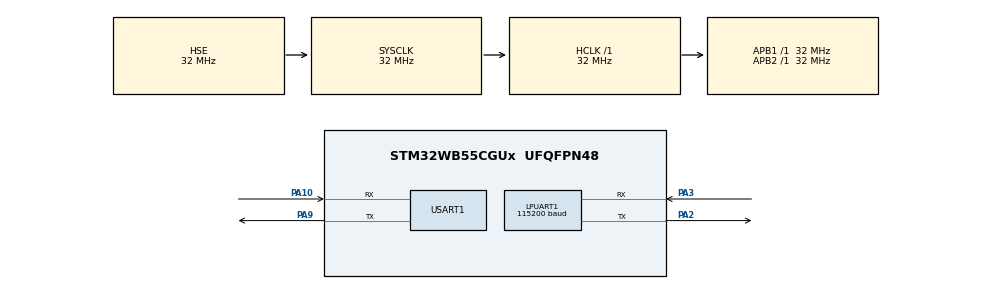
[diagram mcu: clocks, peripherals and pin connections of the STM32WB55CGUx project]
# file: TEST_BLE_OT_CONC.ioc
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Dma.LPUART1_TX.0.Direction=DMA_MEMORY_TO_PERIPH
Dma.LPUART1_TX.0.EventEnable=DISABLE
Dma.LPUART1_TX.0.Instance=DMA1_Channel4
Dma.LPUART1_TX.0.MemDataAlignment=DMA_MDATAALIGN_BYTE
Dma.LPUART1_TX.0.MemInc=DMA_MINC_ENABLE
Dma.LPUART1_TX.0.Mode=DMA_NORMAL
Dma.LPUART1_TX.0.PeriphDataAlignment=DMA_PDATAALIGN_BYTE
Dma.LPUART1_TX.0.PeriphInc=DMA_PINC_DISABLE
Dma.LPUART1_TX.0.Polarity=HAL_DMAMUX_REQ_GEN_RISING
Dma.LPUART1_TX.0.Priority=DMA_PRIORITY_LOW
Dma.LPUART1_TX.0.RequestNumber=1
Dma.LPUART1_TX.0.SignalID=NONE
Dma.LPUART1_TX.0.SyncEnable=DISABLE
Dma.LPUART1_TX.0.SyncPolarity=HAL_DMAMUX_SYNC_NO_EVENT
Dma.LPUART1_TX.0.SyncRequestNumber=1
Dma.LPUART1_TX.0.SyncSignalID=NONE
Dma.Request0=LPUART1_TX
Dma.Request1=USART1_TX
Dma.USART1_TX.1.Direction=DMA_MEMORY_TO_PERIPH
Dma.USART1_TX.1.EventEnable=DISABLE
Dma.USART1_TX.1.Instance=DMA2_Channel4
Dma.USART1_TX.1.MemDataAlignment=DMA_MDATAALIGN_BYTE
Dma.USART1_TX.1.MemInc=DMA_MINC_ENABLE
Dma.USART1_TX.1.Mode=DMA_NORMAL
Dma.USART1_TX.1.PeriphDataAlignment=DMA_PDATAALIGN_BYTE
Dma.USART1_TX.1.PeriphInc=DMA_PINC_DISABLE
Dma.USART1_TX.1.Polarity=HAL_DMAMUX_REQ_GEN_RISING
Dma.USART1_TX.1.Priority=DMA_PRIORITY_LOW
Dma.USART1_TX.1.RequestNumber=1
Dma.USART1_TX.1.SignalID=NONE
Dma.USART1_TX.1.SyncEnable=DISABLE
Dma.USART1_TX.1.SyncPolarity=HAL_DMAMUX_SYNC_NO_EVENT
Dma.USART1_TX.1.SyncRequestNumber=1
Dma.USART1_TX.1.SyncSignalID=NONE
FREERTOS.Tasks01=defaultTask,24,512,StartDefaultTask,Default,NULL,Dynamic,NULL,NULL
FREERTOS.configMINIMAL_STACK_SIZE=512
FREERTOS.configTOTAL_HEAP_SIZE=10000
FREERTOS.configUSE_TICKLESS_IDLE=2
LPUART1.BaudRate=115200
Mcu.Family=STM32WB
Mcu.Name=STM32WB55CGUx
Mcu.Package=UFQFPN48
NVIC.DMA1_Channel4_IRQn=true\:5\:0\:false\:false\:true\:true\:false\:true
NVIC.DMA2_Channel4_IRQn=true\:5\:0\:false\:false\:true\:true\:false\:true
NVIC.HSEM_IRQn=true\:5\:0\:false\:false\:true\:true\:false\:true
NVIC.LPUART1_IRQn=true\:5\:0\:false\:false\:true\:true\:true\:true
NVIC.PriorityGroup=NVIC_PRIORITYGROUP_4
NVIC.TIM1_TRG_COM_TIM17_IRQn=true\:0\:0\:false\:false\:true\:false\:false\:true
NVIC.TimeBase=TIM1_TRG_COM_TIM17_IRQn
NVIC.TimeBaseIP=TIM17
NVIC.USART1_IRQn=true\:5\:0\:false\:false\:true\:true\:true\:true
OSC_IN.Mode=HSE-External-Oscillator
OSC_IN.Signal=RCC_OSC_IN
OSC_OUT.Mode=HSE-External-Oscillator
OSC_OUT.Signal=RCC_OSC_OUT
PA10.Mode=Asynchronous
PA10.Signal=USART1_RX
PA2.Mode=Asynchronous
PA2.Signal=LPUART1_TX
PA3.Mode=Asynchronous
PA3.Signal=LPUART1_RX
PA9.Mode=Asynchronous
PA9.Signal=USART1_TX
PC14-OSC32_IN.Mode=LSE-External-Oscillator
PC14-OSC32_IN.Signal=RCC_OSC32_IN
PC15-OSC32_OUT.Mode=LSE-External-Oscillator
PC15-OSC32_OUT.Signal=RCC_OSC32_OUT
ProjectManager.HeapSize=0x200
ProjectManager.StackSize=0x400
ProjectManager.TargetToolchain=STM32CubeIDE
RCC.ADCFreq_Value=64000000
RCC.AHBFreq_Value=32000000
RCC.APB1Freq_Value=32000000
RCC.APB1TimFreq_Value=32000000
RCC.APB2Freq_Value=32000000
RCC.APB2TimFreq_Value=32000000
RCC.APB3Freq_Value=16000000
RCC.CortexFreq_Value=32000000
RCC.HCLKFreq_Value=32000000
RCC.HSE_VALUE=32000000
RCC.HSI48_VALUE=48000000
RCC.HSI_VALUE=16000000
RCC.MSIClockRange=RCC_MSIRANGE_10
RCC.PLLM=RCC_PLLM_DIV2
RCC.PLLSourceVirtual=RCC_PLLSOURCE_HSE
RCC.RTCClockSelection=RCC_RTCCLKSOURCE_LSE
RCC.SYSCLKFreq_VALUE=32000000
RCC.SYSCLKSource=RCC_SYSCLKSOURCE_HSE
RCC.USBFreq_Value=64000000
RCC.VCOOutputFreq_Value=128000000
RF1.Mode=RF1_Activate
RF1.Signal=RF_RF1
STM32_WPAN.CFG_CLI_UART=hw_uart1
STM32_WPAN.CFG_DEBUG_TRACE_UART=hw_lpuart1
STM32_WPAN.CFG_HW_LPUART1_ENABLED=1
STM32_WPAN.CFG_HW_USART1_ENABLED=1
STM32_WPAN.CHANNEL=23
STM32_WPAN.PANID=1234
STM32_WPAN.THREAD_APPLICATION=FTD
USART1.VirtualMode-Asynchronous=VM_ASYNC
VP_FREERTOS_VS_CMSIS_V2.Mode=CMSIS_V2
VP_HSEM_VS_HSEM.Mode=HSEM_Activate
VP_RTC_VS_RTC_Activate.Mode=RTC_Enabled
VP_STM32_WPAN_VS_THREAD.Mode=STM32_WPAN_Enabled
VP_SYS_VS_tim17.Mode=TIM17
VP_TINY_LPM_VS_TINY_LPM.Mode=TINY_LPM_Enabled
board=custom

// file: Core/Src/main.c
/* USER CODE BEGIN Header */
/**
  ******************************************************************************
  * @file           : main.c
  * @brief          : Main program body
  ******************************************************************************
  * @attention
  *
  * <h2><center>&copy; Copyright (c) 2021 STMicroelectronics.
  * All rights reserved.</center></h2>
  *
  * This software component is licensed by ST under BSD 3-Clause license,
  * the "License"; You may not use this file except in compliance with the
  * License. You may obtain a copy of the License at:
  *                        opensource.org/licenses/BSD-3-Clause
  *
  ******************************************************************************
  */
/* USER CODE END Header */
#include "main.h"
#include "cmsis_os.h"
#include "dma.h"
#include "usart.h"
#include "rf.h"
#include "rtc.h"
#include "app_entry.h"
#include "app_common.h"
#include "gpio.h"

/* USER CODE BEGIN Includes */
 #include "stm32_seq.h"
#include "otp.h"
#include "stm32_lpm.h"
#include "stm32_seq.h"
#include "dbg_trace.h"
#include "hw_conf.h"
/* USER CODE END Includes */

/* USER CODE BEGIN PV */
GPIO_TypeDef* GPIO_PORT[LEDn] = {LED1_GPIO_PORT, LED2_GPIO_PORT, LED3_GPIO_PORT};
const uint16_t GPIO_PIN[LEDn] = {LED1_PIN, LED2_PIN, LED3_PIN};
/* USER CODE END PV */

void SystemClock_Config(void);
void MX_FREERTOS_Init(void);
/* USER CODE BEGIN PFP */
void PeriphClock_Config(void);
static void Reset_Device( void );
static void Reset_IPCC( void );
static void Reset_BackupDomain( void );
static void Init_Exti( void );
static void Config_HSE(void);
/* USER CODE END PFP */

int main(void)
{
  /* USER CODE BEGIN 1 */
	  /**
	   * The OPTVERR flag is wrongly set at power on
	   * It shall be cleared before using any HAL_FLASH_xxx() api
	   */
	   __HAL_FLASH_CLEAR_FLAG(FLASH_FLAG_OPTVERR);
  /* USER CODE END 1 */

  /* MCU Configuration--------------------------------------------------------*/

  /* Reset of all peripherals, Initializes the Flash interface and the Systick. */
   HAL_Init();

  /* USER CODE BEGIN Init */
   Reset_Device();
   Config_HSE();
  /* USER CODE END Init */

  /* Configure the system clock */
  SystemClock_Config();

  /* USER CODE BEGIN SysInit */
  PeriphClock_Config();
  Init_Exti(); /**< Configure the system Power Mode */
  /* USER CODE END SysInit */

  /* Initialize all configured peripherals */
  MX_GPIO_Init();
  MX_DMA_Init();
  MX_LPUART1_UART_Init();
  MX_RTC_Init();
  MX_USART1_UART_Init();
  MX_RF_Init();

  /* Init scheduler */
  osKernelInitialize();  /* Call init function for freertos objects (in freertos.c) */
  MX_FREERTOS_Init();
  /* Start scheduler */
  osKernelStart();

  /* We should never get here as control is now taken by the scheduler */
  /* Infinite loop */
  /* USER CODE BEGIN WHILE */
  while (1)
  {
	  UTIL_SEQ_Run( UTIL_SEQ_DEFAULT );
    /* USER CODE END WHILE */

  }
}

void SystemClock_Config(void)
{
  RCC_OscInitTypeDef RCC_OscInitStruct = {0};
  RCC_ClkInitTypeDef RCC_ClkInitStruct = {0};
  RCC_PeriphCLKInitTypeDef PeriphClkInitStruct = {0};

  /** Configure LSE Drive Capability
  */
  HAL_PWR_EnableBkUpAccess(); //todo: not there
  __HAL_RCC_LSEDRIVE_CONFIG(RCC_LSEDRIVE_LOW);
  /** Configure the main internal regulator output voltage
  */
  __HAL_PWR_VOLTAGESCALING_CONFIG(PWR_REGULATOR_VOLTAGE_SCALE1);
  /** Initializes the RCC Oscillators according to the specified parameters
  * in the RCC_OscInitTypeDef structure.
  */
  RCC_OscInitStruct.OscillatorType = RCC_OSCILLATORTYPE_HSI|RCC_OSCILLATORTYPE_HSE
                              |RCC_OSCILLATORTYPE_LSE;
  RCC_OscInitStruct.HSEState = RCC_HSE_ON;
  RCC_OscInitStruct.LSEState = RCC_LSE_ON;
  RCC_OscInitStruct.HSIState = RCC_HSI_ON;
  RCC_OscInitStruct.HSICalibrationValue = RCC_HSICALIBRATION_DEFAULT;
  RCC_OscInitStruct.PLL.PLLState = RCC_PLL_NONE;
  if (HAL_RCC_OscConfig(&RCC_OscInitStruct) != HAL_OK)
  {
    Error_Handler();
  }
  /** Configure the SYSCLKSource, HCLK, PCLK1 and PCLK2 clocks dividers
  */
  RCC_ClkInitStruct.ClockType = RCC_CLOCKTYPE_HCLK4|RCC_CLOCKTYPE_HCLK2
                              |RCC_CLOCKTYPE_HCLK|RCC_CLOCKTYPE_SYSCLK
                              |RCC_CLOCKTYPE_PCLK1|RCC_CLOCKTYPE_PCLK2;
  RCC_ClkInitStruct.SYSCLKSource = RCC_SYSCLKSOURCE_HSE;
  RCC_ClkInitStruct.AHBCLKDivider = RCC_SYSCLK_DIV1;
  RCC_ClkInitStruct.APB1CLKDivider = RCC_HCLK_DIV1;
  RCC_ClkInitStruct.APB2CLKDivider = RCC_HCLK_DIV1;
  RCC_ClkInitStruct.AHBCLK2Divider = RCC_SYSCLK_DIV1;
  RCC_ClkInitStruct.AHBCLK4Divider = RCC_SYSCLK_DIV1;

  if (HAL_RCC_ClockConfig(&RCC_ClkInitStruct, FLASH_LATENCY_1) != HAL_OK)
  {
    Error_Handler();
  }
  /** Initializes the peripherals clocks
  */
  PeriphClkInitStruct.PeriphClockSelection = RCC_PERIPHCLK_SMPS|RCC_PERIPHCLK_RFWAKEUP
                              |RCC_PERIPHCLK_RTC|RCC_PERIPHCLK_USART1
                              |RCC_PERIPHCLK_LPUART1;
  PeriphClkInitStruct.Usart1ClockSelection = RCC_USART1CLKSOURCE_PCLK2;
  PeriphClkInitStruct.Lpuart1ClockSelection = RCC_LPUART1CLKSOURCE_PCLK1;

  /**
   * TODO
   * This is what CubeMX generated
   * (you can correct this in CubeMX but I am fearful of a regeneration)
   */
//  PeriphClkInitStruct.RTCClockSelection = RCC_RTCCLKSOURCE_LSE;
//  PeriphClkInitStruct.RFWakeUpClockSelection = RCC_RFWKPCLKSOURCE_HSE_DIV1024;
//  PeriphClkInitStruct.SmpsClockSelection = RCC_SMPSCLKSOURCE_HSI;
//  PeriphClkInitStruct.SmpsDivSelection = RCC_SMPSCLKDIV_RANGE1;
//  if (HAL_RCCEx_PeriphCLKConfig(&PeriphClkInitStruct) != HAL_OK)
//  {
//    Error_Handler();
//  }
  /* USER CODE BEGIN Smps */

  /**
   * This is what the example API prefers or funny things happen
   */
  //PeriphClkInitStruct.RTCClockSelection = RCC_RTCCLKSOURCE_LSE;
    PeriphClkInitStruct.RTCClockSelection = RCC_RTCCLKSOURCE_HSE_DIV32;
    PeriphClkInitStruct.RFWakeUpClockSelection = RCC_RFWKPCLKSOURCE_LSE;
    PeriphClkInitStruct.SmpsClockSelection = RCC_SMPSCLKSOURCE_HSE;
    PeriphClkInitStruct.SmpsDivSelection = RCC_SMPSCLKDIV_RANGE1;
    if (HAL_RCCEx_PeriphCLKConfig(&PeriphClkInitStruct) != HAL_OK)
      {
        Error_Handler();
      }
  /* USER CODE END Smps */
}

/* USER CODE BEGIN 4 */
void PeriphClock_Config(void)
{
  #if (CFG_USB_INTERFACE_ENABLE != 0)
	RCC_PeriphCLKInitTypeDef PeriphClkInitStruct = { 0 };
	RCC_CRSInitTypeDef RCC_CRSInitStruct = { 0 };

	/**
   * This prevents the CPU2 to disable the HSI48 oscillator when
   * it does not use anymore the RNG IP
   */
  LL_HSEM_1StepLock( HSEM, 5 );

  LL_RCC_HSI48_Enable();

	while(!LL_RCC_HSI48_IsReady());

	/* Select HSI48 as USB clock source */
	PeriphClkInitStruct.PeriphClockSelection = RCC_PERIPHCLK_USB;
	PeriphClkInitStruct.UsbClockSelection = RCC_USBCLKSOURCE_HSI48;
	HAL_RCCEx_PeriphCLKConfig(&PeriphClkInitStruct);

	/*Configure the clock recovery system (CRS)**********************************/

	/* Enable CRS Clock */
	__HAL_RCC_CRS_CLK_ENABLE();

	/* Default Synchro Signal division factor (not divided) */
	RCC_CRSInitStruct.Prescaler = RCC_CRS_SYNC_DIV1;

	/* Set the SYNCSRC[1:0] bits according to CRS_Source value */
	RCC_CRSInitStruct.Source = RCC_CRS_SYNC_SOURCE_USB;

	/* HSI48 is synchronized with USB SOF at 1KHz rate */
	RCC_CRSInitStruct.ReloadValue = RCC_CRS_RELOADVALUE_DEFAULT;
	RCC_CRSInitStruct.ErrorLimitValue = RCC_CRS_ERRORLIMIT_DEFAULT;

	RCC_CRSInitStruct.Polarity = RCC_CRS_SYNC_POLARITY_RISING;

	/* Set the TRIM[5:0] to the default value*/
	RCC_CRSInitStruct.HSI48CalibrationValue = RCC_CRS_HSI48CALIBRATION_DEFAULT;

	/* Start automatic synchronization */
	HAL_RCCEx_CRSConfig(&RCC_CRSInitStruct);
#endif

	return;
}

//void SystemClock_Config(void)
//{
//  RCC_OscInitTypeDef RCC_OscInitStruct = {0};
//  RCC_ClkInitTypeDef RCC_ClkInitStruct = {0};
//  RCC_PeriphCLKInitTypeDef PeriphClkInitStruct = {0};
//
//  /** Configure LSE Drive Capability
//  */
//  __HAL_RCC_LSEDRIVE_CONFIG(RCC_LSEDRIVE_LOW);
//  /** Configure the main internal regulator output voltage
//  */
//  __HAL_PWR_VOLTAGESCALING_CONFIG(PWR_REGULATOR_VOLTAGE_SCALE1);
//  /** Initializes the CPU, AHB and APB busses clocks
//  */
//  RCC_OscInitStruct.OscillatorType = RCC_OSCILLATORTYPE_HSI|RCC_OSCILLATORTYPE_HSE
//                              |RCC_OSCILLATORTYPE_LSE;
//  RCC_OscInitStruct.HSEState = RCC_HSE_ON;
//  RCC_OscInitStruct.LSEState = RCC_LSE_ON;
//  RCC_OscInitStruct.HSIState = RCC_HSI_ON;
//  RCC_OscInitStruct.HSICalibrationValue = RCC_HSICALIBRATION_DEFAULT;
//  RCC_OscInitStruct.PLL.PLLState = RCC_PLL_NONE;
//  if (HAL_RCC_OscConfig(&RCC_OscInitStruct) != HAL_OK)
//  {
//    Error_Handler();
//  }
//  /** Configure the SYSCLKSource, HCLK, PCLK1 and PCLK2 clocks dividers
//  */
//  RCC_ClkInitStruct.ClockType = RCC_CLOCKTYPE_HCLK4|RCC_CLOCKTYPE_HCLK2
//                              |RCC_CLOCKTYPE_HCLK|RCC_CLOCKTYPE_SYSCLK
//                              |RCC_CLOCKTYPE_PCLK1|RCC_CLOCKTYPE_PCLK2;
//  RCC_ClkInitStruct.SYSCLKSource = RCC_SYSCLKSOURCE_HSE;
//  RCC_ClkInitStruct.AHBCLKDivider = RCC_SYSCLK_DIV1;
//  RCC_ClkInitStruct.APB1CLKDivider = RCC_HCLK_DIV1;
//  RCC_ClkInitStruct.APB2CLKDivider = RCC_HCLK_DIV1;
//  RCC_ClkInitStruct.AHBCLK2Divider = RCC_SYSCLK_DIV1;
//  RCC_ClkInitStruct.AHBCLK4Divider = RCC_SYSCLK_DIV1;
//
//  if (HAL_RCC_ClockConfig(&RCC_ClkInitStruct, FLASH_LATENCY_1) != HAL_OK)
//  {
//    Error_Handler();
//  }
//  /** Initializes the peripherals clocks
//  */
//  PeriphClkInitStruct.PeriphClockSelection = RCC_PERIPHCLK_SMPS|RCC_PERIPHCLK_RFWAKEUP
//                              |RCC_PERIPHCLK_RTC|RCC_PERIPHCLK_USART1
//                              |RCC_PERIPHCLK_LPUART1;
//  PeriphClkInitStruct.Usart1ClockSelection = RCC_USART1CLKSOURCE_PCLK2;
//  PeriphClkInitStruct.Lpuart1ClockSelection = RCC_LPUART1CLKSOURCE_PCLK1;
//  //PeriphClkInitStruct.RTCClockSelection = RCC_RTCCLKSOURCE_LSE;
//  PeriphClkInitStruct.RTCClockSelection = RCC_RTCCLKSOURCE_HSE_DIV32;
//  PeriphClkInitStruct.RFWakeUpClockSelection = RCC_RFWKPCLKSOURCE_LSE;
//  PeriphClkInitStruct.SmpsClockSelection = RCC_SMPSCLKSOURCE_HSE;
//  PeriphClkInitStruct.SmpsDivSelection = RCC_SMPSCLKDIV_RANGE1;
//
//  if (HAL_RCCEx_PeriphCLKConfig(&PeriphClkInitStruct) != HAL_OK)
//  {
//    Error_Handler();
//  }
//  /* USER CODE BEGIN Smps */
//
//#if (CFG_USE_SMPS != 0)
//  /**
//   *  Configure and enable SMPS
//   *
//   *  The SMPS configuration is not yet supported by CubeMx
//   *  when SMPS output voltage is set to 1.4V, the RF output power is limited to 3.7dBm
//   *  the SMPS output voltage shall be increased for higher RF output power
//   */
//  LL_PWR_SMPS_SetStartupCurrent(LL_PWR_SMPS_STARTUP_CURRENT_80MA);
//  LL_PWR_SMPS_SetOutputVoltageLevel(LL_PWR_SMPS_OUTPUT_VOLTAGE_1V40);
//  LL_PWR_SMPS_Enable();
//#endif
//
//  /* USER CODE END Smps */
//}

static void Config_HSE(void)
{
    OTP_ID0_t * p_otp;

  /**
   * Read HSE_Tuning from OTP
   */
  p_otp = (OTP_ID0_t *) OTP_Read(0);
  if (p_otp)
  {
    LL_RCC_HSE_SetCapacitorTuning(p_otp->hse_tuning);
  }

  return;
}

static void Reset_Device( void )
{
#if ( CFG_HW_RESET_BY_FW == 1 )
	Reset_BackupDomain();

	Reset_IPCC();
#endif

	return;
}

static void Reset_IPCC( void )
{
	LL_AHB3_GRP1_EnableClock(LL_AHB3_GRP1_PERIPH_IPCC);

	LL_C1_IPCC_ClearFlag_CHx(
			IPCC,
			LL_IPCC_CHANNEL_1 | LL_IPCC_CHANNEL_2 | LL_IPCC_CHANNEL_3 | LL_IPCC_CHANNEL_4
			| LL_IPCC_CHANNEL_5 | LL_IPCC_CHANNEL_6);

	LL_C2_IPCC_ClearFlag_CHx(
			IPCC,
			LL_IPCC_CHANNEL_1 | LL_IPCC_CHANNEL_2 | LL_IPCC_CHANNEL_3 | LL_IPCC_CHANNEL_4
			| LL_IPCC_CHANNEL_5 | LL_IPCC_CHANNEL_6);

	LL_C1_IPCC_DisableTransmitChannel(
			IPCC,
			LL_IPCC_CHANNEL_1 | LL_IPCC_CHANNEL_2 | LL_IPCC_CHANNEL_3 | LL_IPCC_CHANNEL_4
			| LL_IPCC_CHANNEL_5 | LL_IPCC_CHANNEL_6);

	LL_C2_IPCC_DisableTransmitChannel(
			IPCC,
			LL_IPCC_CHANNEL_1 | LL_IPCC_CHANNEL_2 | LL_IPCC_CHANNEL_3 | LL_IPCC_CHANNEL_4
			| LL_IPCC_CHANNEL_5 | LL_IPCC_CHANNEL_6);

	LL_C1_IPCC_DisableReceiveChannel(
			IPCC,
			LL_IPCC_CHANNEL_1 | LL_IPCC_CHANNEL_2 | LL_IPCC_CHANNEL_3 | LL_IPCC_CHANNEL_4
			| LL_IPCC_CHANNEL_5 | LL_IPCC_CHANNEL_6);

	LL_C2_IPCC_DisableReceiveChannel(
			IPCC,
			LL_IPCC_CHANNEL_1 | LL_IPCC_CHANNEL_2 | LL_IPCC_CHANNEL_3 | LL_IPCC_CHANNEL_4
			| LL_IPCC_CHANNEL_5 | LL_IPCC_CHANNEL_6);

	return;
}

static void Reset_BackupDomain( void )
{
	if ((LL_RCC_IsActiveFlag_PINRST() != FALSE) && (LL_RCC_IsActiveFlag_SFTRST() == FALSE))
	{
		HAL_PWR_EnableBkUpAccess(); /**< Enable access to the RTC registers */

		/**
		 *  Write twice the value to flush the APB-AHB bridge
		 *  This bit shall be written in the register before writing the next one
		 */
		HAL_PWR_EnableBkUpAccess();

		__HAL_RCC_BACKUPRESET_FORCE();
		__HAL_RCC_BACKUPRESET_RELEASE();
	}

	return;
}

static void Init_Exti( void )
{
  /**< Disable all wakeup interrupt on CPU1  except IPCC(36), HSEM(38) */
  LL_EXTI_DisableIT_0_31(~0);
  LL_EXTI_DisableIT_32_63( (~0) & (~(LL_EXTI_LINE_36 | LL_EXTI_LINE_38)) );

  return;
}

void BSP_LED_Init(Led_TypeDef Led)
{
  GPIO_InitTypeDef  gpioinitstruct = {0};

  /* Enable the GPIO_LED Clock */
  LEDx_GPIO_CLK_ENABLE(Led);

  /* Configure the GPIO_LED pin */
  gpioinitstruct.Pin = GPIO_PIN[Led];
  gpioinitstruct.Mode = GPIO_MODE_OUTPUT_PP;
  gpioinitstruct.Pull = GPIO_NOPULL;
  gpioinitstruct.Speed = GPIO_SPEED_FREQ_HIGH;

  HAL_GPIO_Init(GPIO_PORT[Led], &gpioinitstruct);

  HAL_GPIO_WritePin(GPIO_PORT[Led], GPIO_PIN[Led], GPIO_PIN_RESET);
}

/**
  * @brief  Turns selected LED On.
  * @param  Led: Specifies the Led to be set on.
  *   This parameter can be one of following parameters:
  *     @arg LED1
  *     @arg LED2
  *     @arg LED3
  * @retval None
  */
void BSP_LED_On(Led_TypeDef Led)
{
  HAL_GPIO_WritePin(GPIO_PORT[Led], GPIO_PIN[Led], GPIO_PIN_SET);
}

/**
  * @brief  Turns selected LED Off.
  * @param  Led: Specifies the Led to be set off.
  *   This parameter can be one of following parameters:
  *     @arg LED1
  *     @arg LED2
  *     @arg LED3
  * @retval None
  */
void BSP_LED_Off(Led_TypeDef Led)
{
  HAL_GPIO_WritePin(GPIO_PORT[Led], GPIO_PIN[Led], GPIO_PIN_RESET);
}
/* USER CODE END 4 */

 /**
  * @brief  Period elapsed callback in non blocking mode
  * @note   This function is called  when TIM17 interrupt took place, inside
  * HAL_TIM_IRQHandler(). It makes a direct call to HAL_IncTick() to increment
  * a global variable "uwTick" used as application time base.
  * @param  htim : TIM handle
  * @retval None
  */
void HAL_TIM_PeriodElapsedCallback(TIM_HandleTypeDef *htim)
{
  if (htim->Instance == TIM17) {
    HAL_IncTick();
  }
}

void Error_Handler(void)
{
  __disable_irq();
  while (1)
  {
  }
}

/************************ (C) COPYRIGHT STMicroelectronics *****END OF FILE****/

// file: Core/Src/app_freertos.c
/* USER CODE BEGIN Header */
/**
  ******************************************************************************
  * File Name          : app_freertos.c
  * Description        : Code for freertos applications
  ******************************************************************************
  * @attention
  *
  * <h2><center>&copy; Copyright (c) 2021 STMicroelectronics.
  * All rights reserved.</center></h2>
  *
  * This software component is licensed by ST under Ultimate Liberty license
  * SLA0044, the "License"; You may not use this file except in compliance with
  * the License. You may obtain a copy of the License at:
  *                             www.st.com/SLA0044
  *
  ******************************************************************************
  */
/* USER CODE END Header */

#include "FreeRTOS.h"
#include "task.h"
#include "main.h"
#include "cmsis_os.h"

/* USER CODE BEGIN Includes */
#include "app_entry.h"
/* USER CODE END Includes */

/* Definitions for defaultTask */
osThreadId_t defaultTaskHandle;
const osThreadAttr_t defaultTask_attributes = {
  .name = "defaultTask",
  .priority = (osPriority_t) osPriorityNormal,
  .stack_size = 512
};

void StartDefaultTask(void *argument);

void MX_FREERTOS_Init(void); /* (MISRA C 2004 rule 8.1) */

/* USER CODE BEGIN VPORT_SUPPORT_TICKS_AND_SLEEP */
__weak void vPortSuppressTicksAndSleep( TickType_t xExpectedIdleTime )
{
  // Generated when configUSE_TICKLESS_IDLE == 2.
  // Function called in tasks.c (in portTASK_FUNCTION).
  // TO BE COMPLETED or TO BE REPLACED by a user one, overriding that weak one.
}
/* USER CODE END VPORT_SUPPORT_TICKS_AND_SLEEP */

void MX_FREERTOS_Init(void) {

  /* Create the thread(s) */
  /* creation of defaultTask */
  defaultTaskHandle = osThreadNew(StartDefaultTask, NULL, &defaultTask_attributes);

  /* USER CODE BEGIN RTOS_THREADS */
  /* add threads, ... */

  APPE_Init();
  /* USER CODE END RTOS_THREADS */

}

void StartDefaultTask(void *argument)
{
  for(;;)
  {
    osDelay(1);
  }
}

/************************ (C) COPYRIGHT STMicroelectronics *****END OF FILE****/
